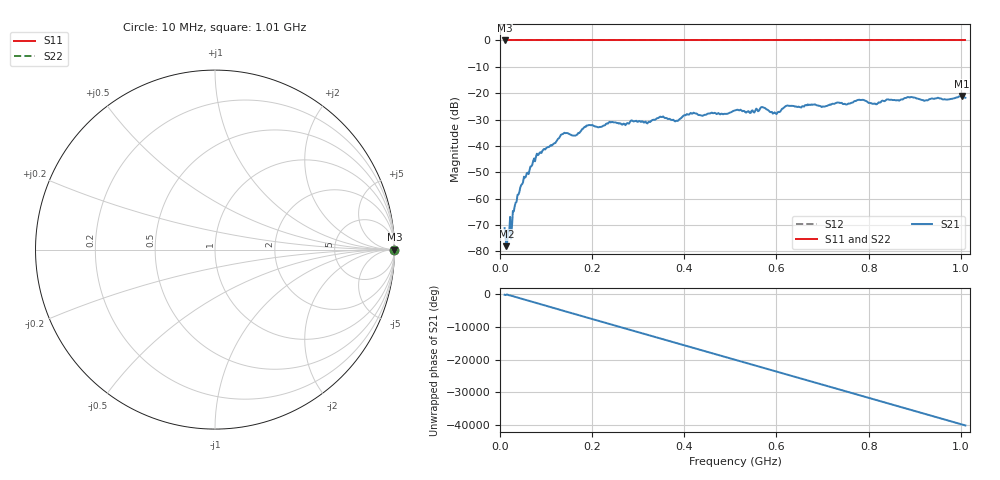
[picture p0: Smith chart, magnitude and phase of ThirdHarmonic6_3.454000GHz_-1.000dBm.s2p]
! 8/17/2025 11:10:04 AM
! C:\ANRITSUVNA\TEMP\TEMP.S2P
! CHANNEL.1
! TR.MEASUREMENT
! RAW.DATA
! RF.CORRECTION.OFF
! AVERAGING.OFF
! IF.BANDWIDTH: 5KHZ
! SWEEPTYPE:  FREQ.SWEEP(Linear)
! Reference Plane Port Info
! PORT:  PORT1  PORT2
! DISTANCE:  0  m  0  m
! TIME:  0  s  0  s
! PHASE.OFFSET:  0  deg.  0  deg.
! LOSS:  0  dB  0  dB
! REF.LOSS:  0  dB  0  dB
! REF.FREQ:  0  Hz  0  Hz
! Power Info
! POWER:  -20  dBm  -20  dBm
! EFF.POWER:  -20  dBm  -20  dBm
! SOURCE.ATTEN:  0  dB  0  dB
! TEST.ATTEN:  0  dB  0  dB
# GHZ S RI R 50.0
! FREQ.GHZ  S11RE  S11IM  S21RE  S21IM  S12RE  S12IM  S22RE  S22IM
!; PortSelection: Port_12
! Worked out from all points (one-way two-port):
!   501 points, 10 MHz to 1.01 GHz, reference 50 ohm
!   highest |S21| = -21.07 dB at 1.002 GHz (marker M1); lowest = -78.0 dB at 14 MHz (marker M2)
!   lowest |S11| = 0.0 dB at 10 MHz (marker M3)
!   |S11| at or under -10 dB: nowhere
!   |S22| runs from 0.0 to 0.0 dB; largest |S21 - S12| = 1.1
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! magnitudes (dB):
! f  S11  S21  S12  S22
! 10 MHz  0.0  -71.2  0.0  0.0
! 14 MHz  0.0  -78.0  0.0  0.0
! 22 MHz  0.0  -66.9  0.0  0.0
! 32 MHz  0.0  -62.8  0.0  0.0
! 48 MHz  0.0  -54.6  0.0  0.0
! 76 MHz  0.0  -45.8  0.0  0.0
! 136 MHz  0.0  -35.5  0.0  0.0
! 162 MHz  0.0  -36.1  0.0  0.0
! 178 MHz  0.0  -33.7  0.0  0.0
! 192 MHz  0.0  -32.1  0.0  0.0
! 322 MHz  0.0  -31.0  0.0  0.0
! 344 MHz  0.0  -29.4  0.0  0.0
! 382 MHz  0.0  -30.5  0.0  0.0
! 416 MHz  0.0  -27.8  0.0  0.0
! 510 MHz  0.0  -26.6  0.0  0.0
! 570 MHz  0.0  -25.3  0.0  0.0
! 596 MHz  0.0  -27.3  0.0  0.0
! 624 MHz  0.0  -24.7  0.0  0.0
! 678 MHz  0.0  -24.4  0.0  0.0
! 844 MHz  0.0  -22.5  0.0  0.0
! 1.002 GHz  0.0  -21.1  0.0  0.0
! 1.01 GHz  0.0  -21.7  0.0  0.0
